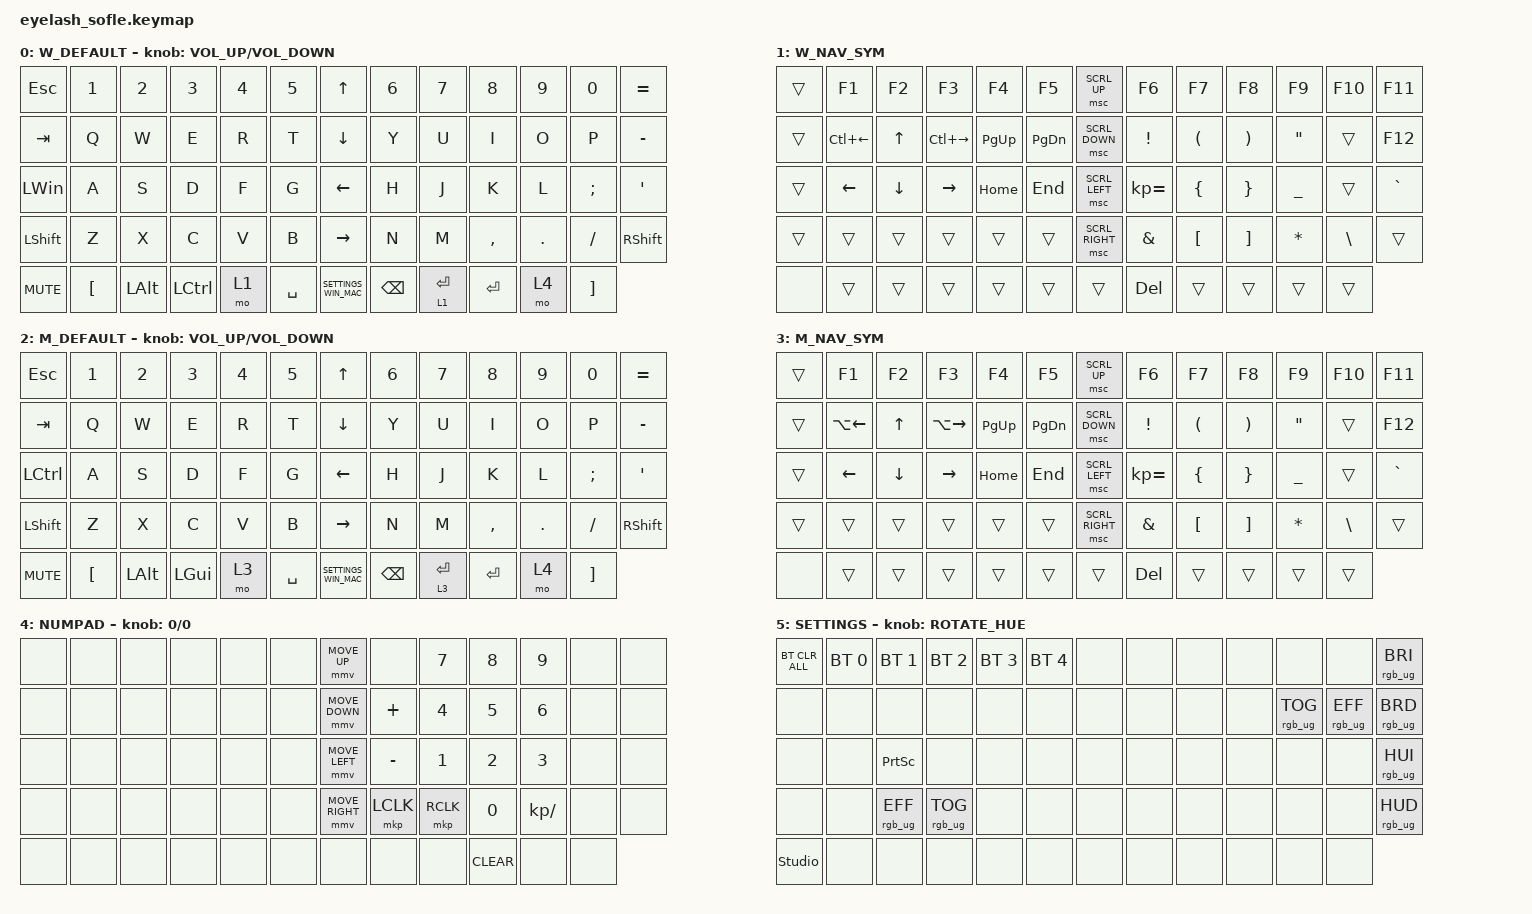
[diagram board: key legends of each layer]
#include <dt-bindings/zmk/mouse.h>
#include <input/processors.dtsi>
#include <behaviors.dtsi>
#include <dt-bindings/zmk/bt.h>
#include <dt-bindings/zmk/keys.h>
#include <dt-bindings/zmk/pointing.h>
#include <dt-bindings/zmk/rgb.h>

/*

   &mmv_input_listener {
       input-processors = <&zip_xy_scaler 2 1>;
   };

   &msc_input_listener {
       input-processors = <&zip_xy_scaler 2 1>;
   };

 */

#define ZMK_MOUSE_DEFAULT_MOVE_VAL 1200  // 600
#define ZMK_MOUSE_DEFAULT_SCRL_VAL 20    // 10

/ {
    behaviors {
        mmv {
            acceleration-exponent = <1>;      // 1
            time-to-max-speed-ms = <900>;    // 40
            delay-ms = <0>;                   // 0
        };

        msc {
            acceleration-exponent = <1>;      // 0
            time-to-max-speed-ms = <400>;      // 500
            delay-ms = <0>;                   //   10
        };
    };

    ROTATE_HUE: ROTATE_HUE {
        compatible = "zmk,behavior-sensor-rotate";
        #sensor-binding-cells = <0>;
        bindings = <&rgb_ug RGB_HUI>, <&rgb_ug RGB_HUD>;
    };

    SHIFT_LOCK: SHIFT_LOCK {
        compatible = "zmk,behavior-tap-dance";
        #binding-cells = <0>;
        bindings = <&kp RSHIFT>, <&kp CAPSLOCK>;
    };

    SETTINGS_WIN_MAC: SETTINGS_WIN_MAC {
        compatible = "zmk,behavior-tap-dance";
        #binding-cells = <0>;
        bindings = <&mo 5>, <&to 0>, <&to 2>;

        label = "SETTINGS_WIN_MAC";
        tapping-term-ms = <400>;
    };

    keymap {
        compatible = "zmk,keymap";

        WIN_DEFAULT {
            bindings = <
&kp ESC       &kp N1    &kp N2    &kp N3            &kp N4  &kp N5       &kp UP             &kp N6    &kp N7       &kp N8     &kp N9   &kp N0    &kp EQUAL
&kp TAB       &kp Q     &kp W     &kp E             &kp R   &kp T        &kp DOWN           &kp Y     &kp U        &kp I      &kp O    &kp P     &kp MINUS
&kp LEFT_WIN  &kp A     &kp S     &kp D             &kp F   &kp G        &kp LEFT           &kp H     &kp J        &kp K      &kp L    &kp SEMI  &kp SQT
&kp LSHFT     &kp Z     &kp X     &kp C             &kp V   &kp B        &kp RIGHT          &kp N     &kp M        &kp COMMA  &kp DOT  &kp FSLH  &kp RSHFT
&kp C_MUTE    &kp LBKT  &kp LALT  &kp LEFT_CONTROL  &mo 1   &kp SPACE    &SETTINGS_WIN_MAC  &kp BSPC  &lt 1 ENTER  &kp RET    &mo 4    &kp RBKT
            >;

            sensor-bindings = <&inc_dec_kp C_VOLUME_UP C_VOLUME_DOWN>;
            label = "W_DEFAULT";
        };

        WIN_NAV_SYMBOLS {
            display-name = "W_NAV_SYM";
            bindings = <
&trans  &kp F1        &kp F2    &kp F3         &kp F4     &kp F5       &msc SCRL_UP     &kp F6        &kp F7                &kp F8                 &kp F9          &kp F10        &kp F11
&trans  &kp LC(LEFT)  &kp UP    &kp LC(RIGHT)  &kp PG_UP  &kp PG_DN    &msc SCRL_DOWN   &kp EXCL      &kp LEFT_PARENTHESIS  &kp RIGHT_PARENTHESIS  &kp DQT         &trans         &kp F12
&trans  &kp LEFT      &kp DOWN  &kp RIGHT      &kp HOME   &kp END      &msc SCRL_LEFT   &kp KP_EQUAL  &kp LEFT_BRACE        &kp RIGHT_BRACE        &kp UNDERSCORE  &trans         &kp GRAVE
&trans  &trans        &trans    &trans         &trans     &trans       &msc SCRL_RIGHT  &kp AMPS      &kp LEFT_BRACKET      &kp RIGHT_BRACKET      &kp ASTRK       &kp BACKSLASH  &trans
&none   &trans        &trans    &trans         &trans     &trans       &trans           &kp DEL       &trans                &trans                 &trans          &trans
            >;
        };

        MAC_DEFAULT {
            bindings = <
&kp ESC     &kp N1    &kp N2    &kp N3    &kp N4  &kp N5       &kp UP             &kp N6    &kp N7       &kp N8     &kp N9   &kp N0    &kp EQUAL
&kp TAB     &kp Q     &kp W     &kp E     &kp R   &kp T        &kp DOWN           &kp Y     &kp U        &kp I      &kp O    &kp P     &kp MINUS
&kp LCTRL   &kp A     &kp S     &kp D     &kp F   &kp G        &kp LEFT           &kp H     &kp J        &kp K      &kp L    &kp SEMI  &kp SQT
&kp LSHFT   &kp Z     &kp X     &kp C     &kp V   &kp B        &kp RIGHT          &kp N     &kp M        &kp COMMA  &kp DOT  &kp FSLH  &kp RSHFT
&kp C_MUTE  &kp LBKT  &kp LALT  &kp LGUI  &mo 3   &kp SPACE    &SETTINGS_WIN_MAC  &kp BSPC  &lt 3 ENTER  &kp RET    &mo 4    &kp RBKT
            >;

            sensor-bindings = <&inc_dec_kp C_VOLUME_UP C_VOLUME_DOWN>;
            label = "M_DEFAULT";
        };

        MAC_NAV_SYMBOLS {
            display-name = "M_NAV_SYM";
            bindings = <
&trans  &kp F1        &kp F2    &kp F3         &kp F4     &kp F5       &msc SCRL_UP     &kp F6        &kp F7                &kp F8                 &kp F9          &kp F10        &kp F11
&trans  &kp LA(LEFT)  &kp UP    &kp LA(RIGHT)  &kp PG_UP  &kp PG_DN    &msc SCRL_DOWN   &kp EXCL      &kp LEFT_PARENTHESIS  &kp RIGHT_PARENTHESIS  &kp DQT         &trans         &kp F12
&trans  &kp LEFT      &kp DOWN  &kp RIGHT      &kp HOME   &kp END      &msc SCRL_LEFT   &kp KP_EQUAL  &kp LEFT_BRACE        &kp RIGHT_BRACE        &kp UNDERSCORE  &trans         &kp GRAVE
&trans  &trans        &trans    &trans         &trans     &trans       &msc SCRL_RIGHT  &kp AMPS      &kp LEFT_BRACKET      &kp RIGHT_BRACKET      &kp ASTRK       &kp BACKSLASH  &trans
&none   &trans        &trans    &trans         &trans     &trans       &trans           &kp DEL       &trans                &trans                 &trans          &trans
            >;
        };

        NUMPAD {
            display-name = "NUMPAD";
            bindings = <
&none  &none  &none  &none  &none  &none    &mmv MOVE_UP     &none      &kp N7     &kp N8     &kp N9         &none  &none
&none  &none  &none  &none  &none  &none    &mmv MOVE_DOWN   &kp PLUS   &kp N4     &kp N5     &kp N6         &none  &none
&none  &none  &none  &none  &none  &none    &mmv MOVE_LEFT   &kp MINUS  &kp N1     &kp N2     &kp N3         &none  &none
&none  &none  &none  &none  &none  &none    &mmv MOVE_RIGHT  &mkp LCLK  &mkp RCLK  &kp N0     &kp KP_DIVIDE  &none  &none
&none  &none  &none  &none  &none  &none    &none            &none      &none      &kp CLEAR  &none          &none
            >;

            sensor-bindings = <&inc_dec_kp 0 0>;
        };

        SETTINGS {
            display-name = "SETTINGS";
            bindings = <
&bt BT_CLR_ALL  &bt BT_SEL 0  &bt BT_SEL 1     &bt BT_SEL 2     &bt BT_SEL 3  &bt BT_SEL 4    &none  &none  &none  &none  &none            &none            &rgb_ug RGB_BRI
&none           &none         &none            &none            &none         &none           &none  &none  &none  &none  &rgb_ug RGB_TOG  &rgb_ug RGB_EFF  &rgb_ug RGB_BRD
&none           &none         &kp PRINTSCREEN  &none            &none         &none           &none  &none  &none  &none  &none            &none            &rgb_ug RGB_HUI
&none           &none         &rgb_ug RGB_EFF  &rgb_ug RGB_TOG  &none         &none           &none  &none  &none  &none  &none            &none            &rgb_ug RGB_HUD
&studio_unlock  &none         &none            &none            &none         &none           &none  &none  &none  &none  &none            &none
            >;

            sensor-bindings = <&ROTATE_HUE>;
        };
    };
};
